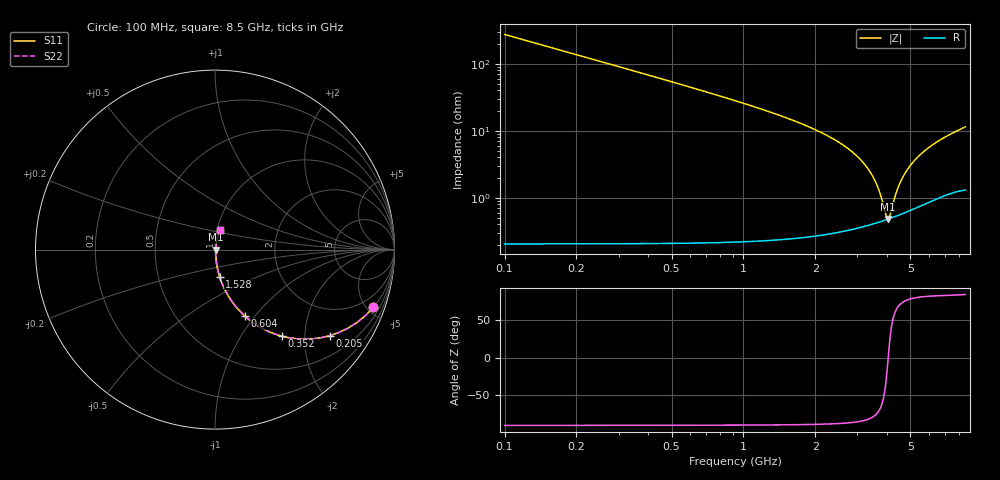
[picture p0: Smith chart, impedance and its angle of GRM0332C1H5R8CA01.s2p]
!Murata Part Number: GRM0332C1H5R8CA01
!These Parameters are Measured in Series Mode Connection
!Data Generated on Mar 30, 2021
!  o--ll--o
!Port1  Port2
!  o------o
!Operation Temp=25[degC], DC Bias Voltage=0[V]
!Freq. Start=100[MHz] Stop=9[GHz] 401[Steps]
# Hz S RI R 50
!Freq.(Hz) S11(Real) S11(Imag) S21(Real) S21(Imag) S12(Real) S12(Imag) S22(Real) S22(Imag)
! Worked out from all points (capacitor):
!   401 points, 100 MHz to 8.5 GHz, reference 50 ohm
!   read as one part in series: C = 5.8 pF near 142 MHz
!   lowest |Z| = 482 mohm at 4.027 GHz (marker M1)
!   series resonance near 4.038 GHz, so ESL is about 270 pH
!   S11 on the Smith chart (normalised r, x): 100 MHz: 1.00, -5.48; 205 MHz: 1.00, -2.67; 352 MHz: 1.00, -1.55; 604 MHz: 1.00, -0.89; 1.528 GHz: 1.00, -0.31; 8.5 GHz: 1.03, +0.23
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1e8  0.8825 -0.3217  0.1175 0.3217  0.1175 0.3217  0.8825 -0.3217
2.05e8  0.6404 -0.4791  0.3596 0.4791  0.3596 0.4791  0.6404 -0.4791
3.52e8  0.3748 -0.4827  0.6252 0.4827  0.6252 0.4827  0.3748 -0.4827
4.57e8  0.2608 -0.4373  0.7392 0.4373  0.7392 0.4373  0.2608 -0.4373
6.04e8  0.166 -0.3697  0.834 0.3697  0.834 0.3697  0.166 -0.3697
9.4e8  0.0727 -0.2557  0.9273 0.2557  0.9273 0.2557  0.0727 -0.2557
1.507e9  0.0263 -0.1525  0.9737 0.1525  0.9737 0.1525  0.0263 -0.1525
1.528e9  0.0255 -0.1499  0.9745 0.1499  0.9745 0.1499  0.0255 -0.1499
2.914e9  0.00546 -0.045  0.9945 0.045  0.9945 0.045  0.00546 -0.045
3.25e9  0.00466 -0.0297  0.9953 0.0297  0.9953 0.0297  0.00466 -0.0297
3.523e9  0.00445 -0.0186  0.9956 0.0186  0.9956 0.0186  0.00445 -0.0186
3.733e9  0.00449 -0.0107  0.9955 0.0107  0.9955 0.0107  0.00449 -0.0107
3.964e9  0.0047 -0.00252  0.9953 0.00252  0.9953 0.00252  0.0047 -0.00252
4.027e9  0.00479 -0.000373  0.9952 0.000373  0.9952 0.000373  0.00479 -0.000373
4.111e9  0.00492 0.00244  0.9951 -0.00244  0.9951 -0.00244  0.00492 0.00244
4.3e9  0.00528 0.00858  0.9947 -0.00858  0.9947 -0.00858  0.00528 0.00858
4.531e9  0.00584 0.0157  0.9942 -0.0157  0.9942 -0.0157  0.00584 0.0157
4.825e9  0.00672 0.0244  0.9933 -0.0244  0.9933 -0.0244  0.00672 0.0244
5.203e9  0.00808 0.0349  0.9919 -0.0349  0.9919 -0.0349  0.00808 0.0349
5.707e9  0.0102 0.048  0.9898 -0.048  0.9898 -0.048  0.0102 0.048
7.114e9  0.0176 0.0806  0.9824 -0.0806  0.9824 -0.0806  0.0176 0.0806
8.5e9  0.0252 0.1096  0.9748 -0.1096  0.9748 -0.1096  0.0252 0.1096
